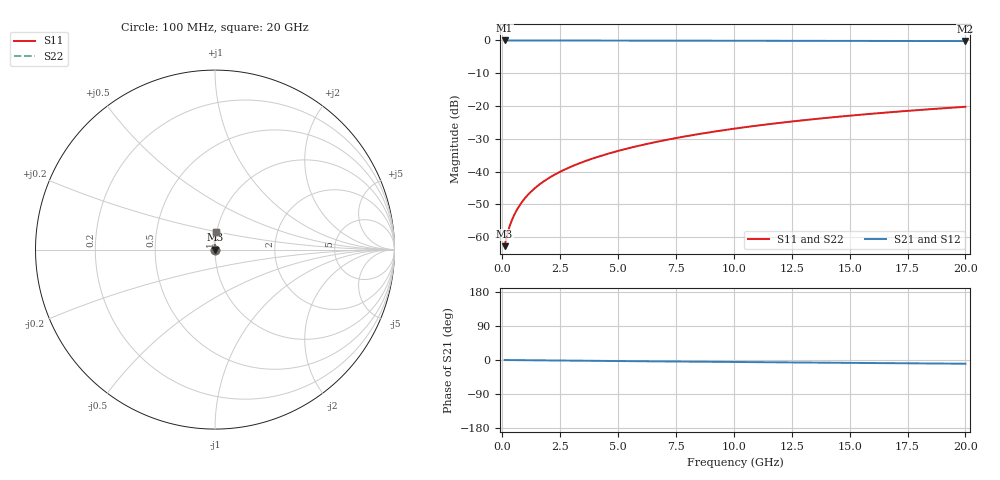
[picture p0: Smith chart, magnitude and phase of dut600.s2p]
! Touchstone file exported from HFSS 2024.1.0
!  File:  C:/UserFiles/LocalFiles/RDL_TSV_Batchsim/temp_RDL_bottom_600_1779783192.aedt
!  Generated:  04:15:26 PM May 26, 2026
!  Design:  RDL_bottom
!  Project:  temp_RDL_bottom_600_1779783192
!  Setup:  Setup1
!  Solution:  Sweep
! Variables:
!  dtsv = 10.80580581um
!  hbump = 3um
!  htsv = 75.6um
!  ldown = 128.37um
!  lrdl = 100um
!  p = 40
!  p1 = 45.35um
!  rhole = 1um
!  t = 450um
!  tdown = 4.57um
!  trdl = 3.915915916um
!  wdown = 25.31um
!  wrdl = 20um
# GHz S MA R 50.000000
! Terminal data exported
! Port[1] = RDL1_T1
! Port[2] = RDL1_T2
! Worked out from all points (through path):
!   200 points, 100 MHz to 20 GHz, reference 50 ohm
!   highest |S21| = -0.01 dB at 100 MHz (marker M1); lowest = -0.2 dB at 20 GHz (marker M2)
!   group delay of S21, straight-line fit = 1.35 ps
!   lowest |S11| = -62.7 dB at 100 MHz (marker M3), VSWR 1.00, Z = 50.1 + j0.045 ohm
!   |S11| at or under -10 dB: start of sweep to end of sweep
!   |S22| runs from -62.7 to -20.2 dB; largest |S21 - S12| = 2.1e-15
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0.1  0.0007318 37.9  0.9994 -0.1  0.9994 -0.1  0.0007318 37.9
! Gamma 0 0 0 0
! Port Impedance 50 0 50 0
0.2  0.001062 54.5  0.9994 -0.1  0.9994 -0.1  0.001062 54.5
0.3  0.001414 62.8  0.9993 -0.2  0.9993 -0.2  0.001414 62.8
0.4  0.001772 68.1  0.9993 -0.2  0.9993 -0.2  0.001772 68.1
0.5  0.002136 71.8  0.9992 -0.3  0.9992 -0.3  0.002136 71.8
0.6  0.002506 74.6  0.9992 -0.4  0.9992 -0.4  0.002506 74.6
0.8  0.003259 78.4  0.9991 -0.5  0.9991 -0.5  0.003259 78.4
1.1  0.004411 81.9  0.999 -0.6  0.999 -0.6  0.004411 81.9
1.5  0.005974 84.7  0.9988 -0.9  0.9988 -0.9  0.005974 84.7
1.8  0.007161 86.2  0.9986 -1.0  0.9986 -1.0  0.007161 86.2
2.1  0.00836 87.3  0.9984 -1.2  0.9984 -1.2  0.00836 87.3
2.7  0.0108 88.9  0.9979 -1.5  0.9979 -1.5  0.0108 88.9
3.5  0.01413 90.5  0.997 -2.0  0.997 -2.0  0.01413 90.5
4.2  0.01715 91.4  0.9962 -2.4  0.9962 -2.4  0.01714 91.4
5  0.0207 92.2  0.9952 -2.8  0.9952 -2.8  0.0207 92.2
6.8  0.02911 93.0  0.9927 -3.7  0.9927 -3.7  0.02911 93.0
8.4  0.03699 93.0  0.9906 -4.5  0.9906 -4.5  0.03699 93.0
10.1  0.04565 92.5  0.9884 -5.3  0.9884 -5.3  0.04565 92.5
11.7  0.05396 91.7  0.9865 -6.1  0.9865 -6.1  0.05396 91.7
13.4  0.06288 90.7  0.9846 -6.8  0.9846 -6.8  0.06288 90.7
16.7  0.08025 88.6  0.9813 -8.3  0.9813 -8.3  0.08025 88.6
20  0.09751 86.5  0.9781 -9.8  0.9781 -9.8  0.09751 86.5
